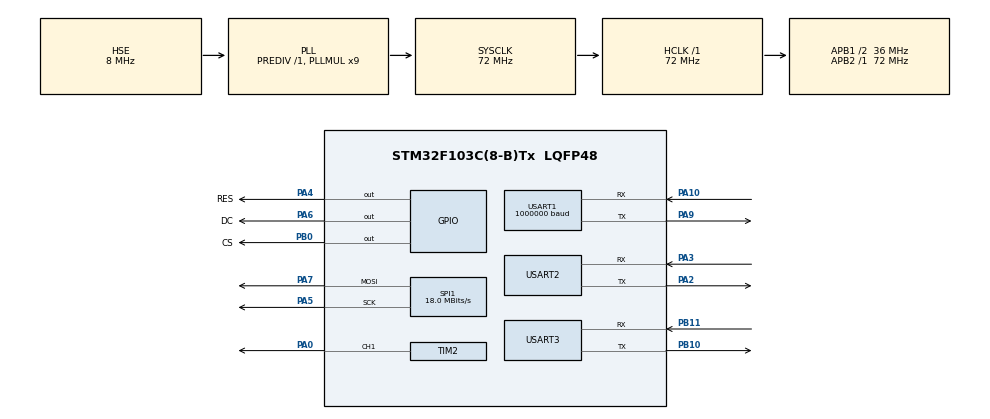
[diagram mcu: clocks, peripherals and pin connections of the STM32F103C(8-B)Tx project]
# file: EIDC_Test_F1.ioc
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Mcu.Family=STM32F1
Mcu.Name=STM32F103C(8-B)Tx
Mcu.Package=LQFP48
NVIC.PriorityGroup=NVIC_PRIORITYGROUP_4
NVIC.TIM2_IRQn=true\:0\:0\:false\:false\:true\:true\:true\:true
NVIC.USART2_IRQn=true\:0\:0\:false\:false\:true\:true\:true\:true
PA0-WKUP.Signal=S_TIM2_CH1_ETR
PA10.Mode=Asynchronous
PA10.Signal=USART1_RX
PA13.Mode=Serial_Wire
PA13.Signal=SYS_JTMS-SWDIO
PA14.Mode=Serial_Wire
PA14.Signal=SYS_JTCK-SWCLK
PA2.Mode=Asynchronous
PA2.Signal=USART2_TX
PA3.Mode=Asynchronous
PA3.Signal=USART2_RX
PA4.GPIO_Label=RES
PA4.GPIO_PuPd=GPIO_PULLDOWN
PA4.GPIO_Speed=GPIO_SPEED_FREQ_HIGH
PA4.Signal=GPIO_Output
PA5.Mode=TX_Only_Simplex_Unidirect_Master
PA5.Signal=SPI1_SCK
PA6.GPIO_Label=DC
PA6.GPIO_PuPd=GPIO_PULLDOWN
PA6.GPIO_Speed=GPIO_SPEED_FREQ_HIGH
PA6.Signal=GPIO_Output
PA7.Mode=TX_Only_Simplex_Unidirect_Master
PA7.Signal=SPI1_MOSI
PA9.Mode=Asynchronous
PA9.Signal=USART1_TX
PB0.GPIO_Label=CS
PB0.GPIO_PuPd=GPIO_PULLDOWN
PB0.Signal=GPIO_Output
PB10.Mode=Asynchronous
PB10.Signal=USART3_TX
PB11.Mode=Asynchronous
PB11.Signal=USART3_RX
PD0-OSC_IN.Mode=HSE-External-Oscillator
PD0-OSC_IN.Signal=RCC_OSC_IN
PD1-OSC_OUT.Mode=HSE-External-Oscillator
PD1-OSC_OUT.Signal=RCC_OSC_OUT
ProjectManager.HeapSize=0x200
ProjectManager.StackSize=0x400
ProjectManager.TargetToolchain=Makefile
RCC.AHBFreq_Value=72000000
RCC.APB1CLKDivider=RCC_HCLK_DIV2
RCC.APB1Freq_Value=36000000
RCC.APB1TimFreq_Value=72000000
RCC.APB2Freq_Value=72000000
RCC.APB2TimFreq_Value=72000000
RCC.HCLKFreq_Value=72000000
RCC.PLLMUL=RCC_PLL_MUL9
RCC.PLLSourceVirtual=RCC_PLLSOURCE_HSE
RCC.SYSCLKFreq_VALUE=72000000
RCC.SYSCLKSource=RCC_SYSCLKSOURCE_PLLCLK
RCC.USBFreq_Value=72000000
SH.S_TIM2_CH1_ETR.0=TIM2_CH1,PWM Generation1 CH1
SPI1.BaudRatePrescaler=SPI_BAUDRATEPRESCALER_4
SPI1.CalculateBaudRate=18.0 MBits/s
SPI1.Direction=SPI_DIRECTION_2LINES
SPI1.Mode=SPI_MODE_MASTER
SPI1.VirtualType=VM_MASTER
TIM1.Period=71
TIM1.Prescaler=0
TIM2.Channel-PWM\ Generation1\ CH1=TIM_CHANNEL_1
TIM2.Period=999
TIM2.Prescaler=71
USART1.BaudRate=1000000
USART1.VirtualMode=VM_ASYNC
USART2.VirtualMode=VM_ASYNC
USART3.VirtualMode=VM_ASYNC
VP_TIM1_VS_ClockSourceINT.Mode=Internal
VP_TIM2_VS_ClockSourceINT.Mode=Internal
board=custom

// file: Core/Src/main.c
/* USER CODE BEGIN Header */
/**
  ******************************************************************************
  * @file           : main.c
  * @brief          : Main program body
  ******************************************************************************
  * @attention
  *
  * Copyright (c) 2025 STMicroelectronics.
  * All rights reserved.
  *
  * This software is licensed under terms that can be found in the LICENSE file
  * in the root directory of this software component.
  * If no LICENSE file comes with this software, it is provided AS-IS.
  *
  ******************************************************************************
  */
/* USER CODE END Header */
#include "main.h"
#include "spi.h"
#include "tim.h"
#include "usart.h"
#include "gpio.h"

/* USER CODE BEGIN Includes */
//#include "HWT101CT_sdk.h"
#include "io_retargetToUart.h"
#include "oled.h"
#include "my_uart.h"
#include "wtr_calculate.h"
//#include "User_SMS_STS.h"
#include "SCServo.h"

/* USER CODE END Includes */

/* USER CODE BEGIN PD */
#define PITCH 1
#define YAW 2
/* USER CODE END PD */

void SystemClock_Config(void);

/* USER CODE BEGIN 0 */
int16_t spex;
int16_t spey;
uint16_t initial_angle_yaw;
uint16_t initial_angle_pitch;
PID_t pid_x, pid_y;

/* USER CODE END 0 */

int main(void)
{

  /* MCU Configuration--------------------------------------------------------*/

  /* Reset of all peripherals, Initializes the Flash interface and the Systick. */
  HAL_Init();

  /* Configure the system clock */
  SystemClock_Config();

  /* Initialize all configured peripherals */
  MX_GPIO_Init();
  MX_USART1_UART_Init();
  MX_TIM1_Init();
  MX_USART2_UART_Init();
  MX_USART3_UART_Init();
  MX_SPI1_Init();
  MX_TIM2_Init();
  /* USER CODE BEGIN 2 */

  SPI_PIN_Init();
  OLED_Init();
  HAL_UART_Receive_IT(&huart2, rx_buffer, sizeof(rx_buffer));
  HAL_TIM_Base_Start_IT(&htim2);
  HAL_TIM_PWM_Start(&htim2,TIM_CHANNEL_1);
  WheelMode(PITCH, 1); // 模弝0：佝置模�??? 模弝1：杒速； 模弝2：pwm调�?�；模弝3：步�???
  WheelMode(YAW, 1); // 模弝0：佝置模�??? 模弝1：杒速； 模弝2：pwm调�?�；模弝3：步�???
  WriteSpe(PITCH, 0, 0);//pitch
  WriteSpe(YAW, 0, 0);//yaw
  pid_init(&pid_x, 1.5, 0.1, 0.3);//yaw - 增加响应速度
  pid_init(&pid_y, 2, 0.0, 0.0);//pitch

  uint8_t no_find_flag = 0;//标记目标丢失的时刻
  uint8_t find_flag = 0;//标记目标是否被锁定（几乎到达中心）
  uint8_t init_flag=0;//标记在目标未找到时是否处于初始化状态

  // 死区参数
  uint8_t dead_zone_x = 8;  // X轴死区
  uint8_t dead_zone_y = 6;  // Y轴死区

  /* USER CODE END 2 */

  /* Infinite loop */
  /* USER CODE BEGIN WHILE */
  while (1)
  {
      // WriteSpe(1, -50, 50); // 正�?�向上，相机向上变大
      // WriteSpe(2, 50, 50); // 正�?�向右，相机向右变小
      /* USER CODE END WHILE */

      /* USER CODE BEGIN 3 */
      // 如果已经锁定目标，检查是否需要重新追踪
      if(find_flag == 1) {
          int16_t error_x = rx_data[0] - 302;
          int16_t error_y = rx_data[1] - 240;

          // 如果目标移出死区，重新开始追踪
          if (abs(error_x) > dead_zone_x * 2 || abs(error_y) > dead_zone_y * 2) {
              find_flag = 0;  // 重置锁定状态
              //printf("Target moved, resume tracking\n");
          } else {
              // 保持锁定状态，不执行追踪
              //printf("Target locked, maintaining position\n");
          }
      }

      if(find_flag==0)//未锁定
      {
        if (rx_data[0] == rx_data[1] && rx_data[1] == 0) {//丢失目标
            if(init_flag==0)
            {
              no_find_flag++;
              if (no_find_flag > 20) {

                printf("no ");
                WheelMode(YAW, 1);
                WriteSpe(YAW, -100, 100);
              // WriteSpe(YAW, 0, 0);

                WheelMode(PITCH, 0);
                WritePos(PITCH, 2250, 60, 50); // pitch

                }
            }else{
              //运动中丢失目标，使用卡尔曼滤波的估计坐标补上

              }
          }else{    //视野内有目标但尚未追上

            WheelMode(YAW, 1);
            WheelMode(PITCH, 1);
            no_find_flag = 0;
            init_flag    = 1; // 设置初始化标志，标志已经找到过，不再处于初始的寻找状态，此后就算丢失也认为是运动中的暂时丢失
            // 计算误差
            int16_t error_x = rx_data[0] - 302;
            int16_t error_y = rx_data[1] - 240;

            // 死区控制 - 当误差足够小时停止运动
            if (abs(error_x) <= dead_zone_x && abs(error_y) <= dead_zone_y) {
                // 目标在死区内，停止运动并锁定位置
                WheelMode(YAW, 0);
                //WheelMode(PITCH, 0);
                uint16_t pos_yaw = ReadPos(YAW);
                //uint16_t pos_pitch = ReadPos(PITCH);
                WritePos(YAW, pos_yaw, 60, 50);
                //WritePos(PITCH, pos_pitch, 60, 50);
                __HAL_TIM_SET_COMPARE(&htim2, TIM_CHANNEL_1, 100); /*降低PWM占空比*/
                find_flag = 1;
                //printf("Target locked at center: error_x=%d, error_y=%d\n", error_x, error_y);
            } else {
                // 目标不在死区内，使用PID控制
                speedServo(302, rx_data[0], &pid_x);
                speedServo(240, rx_data[1], &pid_y);
                WheelMode(YAW, 1);

                // 限制输出速度，避免过冲
                int16_t output_x = (int16_t)pid_x.output;
                int16_t output_y = (int16_t)(-1 * pid_y.output);

                // 根据误差大小动态调整最大速度
                int16_t max_speed_x = (abs(error_x) > 50) ? 100 : 60;  // 远距离快速，近距离慢速
                int16_t max_speed_y = (abs(error_y) > 30) ? 50 : 30;

                // 速度限制
                if (output_x > max_speed_x) output_x = max_speed_x;
                if (output_x < -max_speed_x) output_x = -max_speed_x;
                if (output_y > max_speed_y) output_y = max_speed_y;
                if (output_y < -max_speed_y) output_y = -max_speed_y;

                WriteSpe(YAW, output_x, 100);
                WriteSpe(PITCH, output_y, 50);

                //printf("Tracking: error_x=%d, error_y=%d, output_x=%d, output_y=%d\n",
                       //error_x, error_y, output_x, output_y);
            }

        }
      }

        // 每10次循环输出一次状态信息，避免过多打印影响性能

        printf("%f,%d, %f,%f\n",
                   pid_x.output, find_flag, (float)rx_data[0], (float)rx_data[1]);

  }
  /* USER CODE END 3 */
}

void SystemClock_Config(void)
{
  RCC_OscInitTypeDef RCC_OscInitStruct = {0};
  RCC_ClkInitTypeDef RCC_ClkInitStruct = {0};

  /** Initializes the RCC Oscillators according to the specified parameters
  * in the RCC_OscInitTypeDef structure.
  */
  RCC_OscInitStruct.OscillatorType = RCC_OSCILLATORTYPE_HSE;
  RCC_OscInitStruct.HSEState = RCC_HSE_ON;
  RCC_OscInitStruct.HSEPredivValue = RCC_HSE_PREDIV_DIV1;
  RCC_OscInitStruct.HSIState = RCC_HSI_ON;
  RCC_OscInitStruct.PLL.PLLState = RCC_PLL_ON;
  RCC_OscInitStruct.PLL.PLLSource = RCC_PLLSOURCE_HSE;
  RCC_OscInitStruct.PLL.PLLMUL = RCC_PLL_MUL9;
  if (HAL_RCC_OscConfig(&RCC_OscInitStruct) != HAL_OK)
  {
    Error_Handler();
  }

  /** Initializes the CPU, AHB and APB buses clocks
  */
  RCC_ClkInitStruct.ClockType = RCC_CLOCKTYPE_HCLK|RCC_CLOCKTYPE_SYSCLK
                              |RCC_CLOCKTYPE_PCLK1|RCC_CLOCKTYPE_PCLK2;
  RCC_ClkInitStruct.SYSCLKSource = RCC_SYSCLKSOURCE_PLLCLK;
  RCC_ClkInitStruct.AHBCLKDivider = RCC_SYSCLK_DIV1;
  RCC_ClkInitStruct.APB1CLKDivider = RCC_HCLK_DIV2;
  RCC_ClkInitStruct.APB2CLKDivider = RCC_HCLK_DIV1;

  if (HAL_RCC_ClockConfig(&RCC_ClkInitStruct, FLASH_LATENCY_2) != HAL_OK)
  {
    Error_Handler();
  }
}

void Error_Handler(void)
{
  __disable_irq();
  while (1)
  {
  }
}
